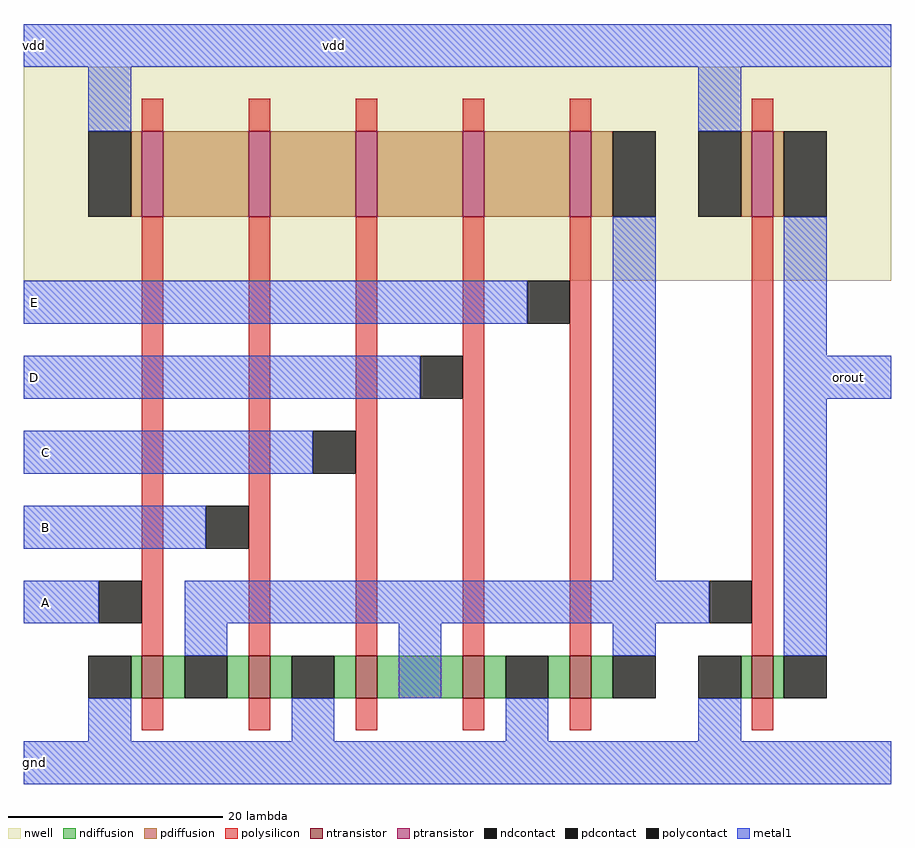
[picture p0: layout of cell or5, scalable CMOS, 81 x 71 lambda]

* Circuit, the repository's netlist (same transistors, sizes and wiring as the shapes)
* SPICE3 file created from or5.ext - technology: scmos

.include TSMC_180nm.txt
.param SUPPLY=1.8
.option scale=0.09u
.global vdd gnd

Vdd vdd gnd SUPPLY
vA0 A gnd pulse 0 1.8 0us 100ps 100ps 9.9us 20us
vA1 B gnd pulse 0 1.8 0us 100ps 100ps 9.9us 20us
vA2 C gnd pulse 0 1.8 0us 100ps 100ps 9.9us 20us
vA3 D gnd pulse 0 1.8 0us 100ps 100ps 9.9us 20us
vB0 E gnd pulse 0 1.8 0us 100ps 100ps 19.8us 40us


M1000 a_33_n36# C gnd Gnd CMOSN w=4 l=2
+  ad=32 pd=24 as=104 ps=84
M1001 a_33_9# C a_23_9# w_0_3# CMOSP w=8 l=2
+  ad=64 pd=32 as=64 ps=32
M1002 gnd B a_13_n36# Gnd CMOSN w=4 l=2
+  ad=0 pd=0 as=56 ps=44
M1003 a_13_n36# A gnd Gnd CMOSN w=4 l=2
+  ad=0 pd=0 as=0 ps=0
M1004 a_23_9# B a_13_9# w_0_3# CMOSP w=8 l=2
+  ad=0 pd=0 as=64 ps=32
M1005 a_13_n36# E a_43_9# w_0_3# CMOSP w=8 l=2
+  ad=48 pd=28 as=64 ps=32
M1006 orout a_13_n36# gnd Gnd CMOSN w=4 l=2
+  ad=20 pd=18 as=0 ps=0
M1007 a_13_9# A vdd w_0_3# CMOSP w=8 l=2
+  ad=0 pd=0 as=80 ps=52
M1008 orout a_13_n36# vdd w_0_3# CMOSP w=8 l=2
+  ad=40 pd=26 as=0 ps=0
M1009 a_13_n36# E gnd Gnd CMOSN w=4 l=2
+  ad=0 pd=0 as=0 ps=0
M1010 a_43_9# D a_33_9# w_0_3# CMOSP w=8 l=2
+  ad=0 pd=0 as=0 ps=0
M1011 gnd D a_33_n36# Gnd CMOSN w=4 l=2
+  ad=0 pd=0 as=0 ps=0

.tran 0.1u 80u

.control
run
plot v(A)
plot v(B)

plot  v(orout)

.endc
.end

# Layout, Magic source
magic
tech scmos
<< nwell >>
rect 0 3 81 23
<< ntransistor >>
rect 11 -36 13 -32
rect 21 -36 23 -32
rect 31 -36 33 -32
rect 41 -36 43 -32
rect 51 -36 53 -32
rect 68 -36 70 -32
<< ptransistor >>
rect 11 9 13 17
rect 21 9 23 17
rect 31 9 33 17
rect 41 9 43 17
rect 51 9 53 17
rect 68 9 70 17
<< ndiffusion >>
rect 10 -36 11 -32
rect 13 -36 15 -32
rect 19 -36 21 -32
rect 23 -36 25 -32
rect 29 -36 31 -32
rect 33 -36 41 -32
rect 43 -36 45 -32
rect 49 -36 51 -32
rect 53 -36 55 -32
rect 67 -36 68 -32
rect 70 -36 71 -32
<< pdiffusion >>
rect 10 9 11 17
rect 13 9 21 17
rect 23 9 31 17
rect 33 9 41 17
rect 43 9 51 17
rect 53 9 55 17
rect 67 9 68 17
rect 70 9 71 17
<< ndcontact >>
rect 6 -36 10 -32
rect 15 -36 19 -32
rect 25 -36 29 -32
rect 45 -36 49 -32
rect 55 -36 59 -32
rect 63 -36 67 -32
rect 71 -36 75 -32
<< pdcontact >>
rect 6 9 10 17
rect 55 9 59 17
rect 63 9 67 17
rect 71 9 75 17
<< polysilicon >>
rect 11 17 13 20
rect 21 17 23 20
rect 31 17 33 20
rect 41 17 43 20
rect 51 17 53 20
rect 68 17 70 20
rect 11 -32 13 9
rect 21 -32 23 9
rect 31 -32 33 9
rect 41 -32 43 9
rect 51 -32 53 9
rect 68 -32 70 9
rect 11 -39 13 -36
rect 21 -39 23 -36
rect 31 -39 33 -36
rect 41 -39 43 -36
rect 51 -39 53 -36
rect 68 -39 70 -36
<< polycontact >>
rect 7 -29 11 -25
rect 17 -22 21 -18
rect 27 -15 31 -11
rect 37 -8 41 -4
rect 47 -1 51 3
rect 64 -29 68 -25
<< metal1 >>
rect 0 23 81 27
rect 6 17 10 23
rect 63 17 67 23
rect 0 -1 47 3
rect 0 -8 37 -4
rect 0 -15 27 -11
rect 0 -22 17 -18
rect 55 -25 59 9
rect 71 -4 75 9
rect 71 -8 81 -4
rect 0 -29 7 -25
rect 15 -29 64 -25
rect 15 -32 19 -29
rect 35 -36 39 -29
rect 55 -32 59 -29
rect 71 -32 75 -8
rect 6 -40 10 -36
rect 25 -40 29 -36
rect 45 -40 49 -36
rect 63 -40 67 -36
rect 0 -44 81 -40
<< labels >>
rlabel metal1 1 25 1 25 4 vdd
rlabel metal1 29 25 29 25 4 vdd
rlabel metal1 1 -6 1 -6 3 D
rlabel metal1 1 -42 1 -42 2 gnd
rlabel metal1 2 -13 2 -13 3 C
rlabel metal1 2 -20 2 -20 3 B
rlabel metal1 2 -27 2 -27 3 A
rlabel metal1 77 -6 77 -6 7 orout
rlabel metal1 1 1 1 1 3 E
<< end >>
